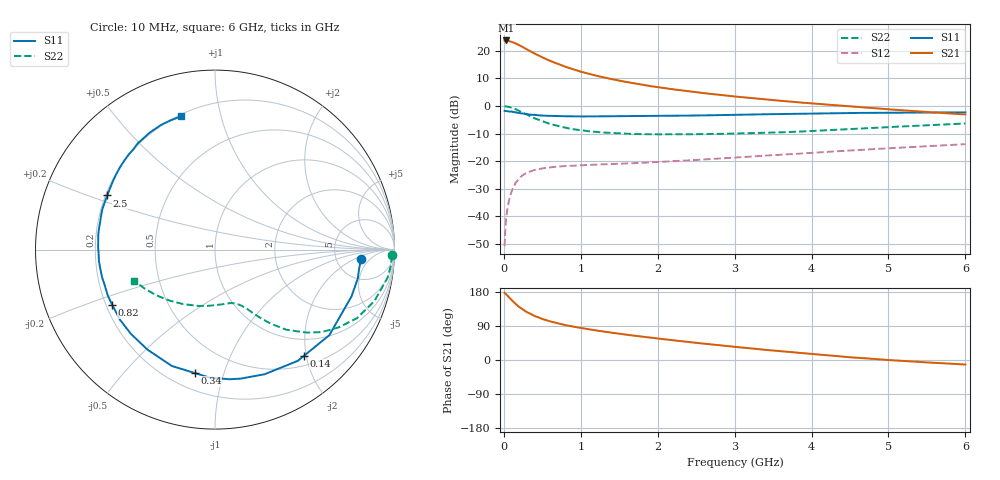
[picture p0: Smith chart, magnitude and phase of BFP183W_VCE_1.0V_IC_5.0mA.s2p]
! Infineon Technologies  Discrete & RF Semiconductors
! BFP183W
! VCE = 1.0 V,  IC =  5.0 mA
! Common Emitter S-Parameters:  Jan 2016
# GHz  S  MA  R  50
!  f  S11  S21  S12  S22
! GHz  MAG  ANG  MAG  ANG  MAG  ANG  MAG  ANG
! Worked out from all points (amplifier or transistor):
!   210 points, 10 MHz to 6 GHz, reference 50 ohm
!   highest |S21| = 23.7 dB at 30 MHz (marker M1)
!   |S21| within 3 dB of that: start of sweep to 284 MHz
!   unconditionally stable (mu >= 1): 1.672 GHz to end of sweep
!   at 185 MHz: K = 0.15, MSG = 24.4 dB, |S12| = -26.7 dB
!   at 1.52 GHz: K = 0.94, MSG = 15.0 dB, |S12| = -20.9 dB
!   at 6 GHz: K = 1.05, MAG = 4.0 dB, |S12| = -13.8 dB
!   S11 on the Smith chart (normalised r, x): 10 MHz: 8.89, -2.86; 140 MHz: 0.67, -1.96; 340 MHz: 0.30, -0.80; 820 MHz: 0.22, -0.24; 2.5 GHz: 0.21, +0.23; 6 GHz: 0.21, +0.76
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0.01  0.8152 -3.8  15.24 177.1  0.0029 92.1  0.9889 -1.9
0.03  0.8117 -11.4  15.34 173.5  0.0094 84.7  0.9828 -5.6
0.05  0.8043 -18.8  15.17 168.9  0.0149 80.6  0.9739 -9.3
0.1  0.7958 -36.8  14.53 158.3  0.0282 71.2  0.9333 -17.9
0.14  0.7719 -50.0  13.79 150.5  0.0376 64.1  0.8881 -24.1
0.15  0.7725 -53.4  13.65 148.4  0.04 62.9  0.8785 -25.8
0.2  0.7473 -68.4  12.59 139.8  0.0491 56.4  0.8148 -32.1
0.24  0.7329 -78.7  11.76 134.2  0.0551 51.6  0.7648 -36.4
0.3  0.7137 -92.4  10.54 126.2  0.062 45.9  0.6941 -41.8
0.34  0.6965 -99.4  9.84 122.6  0.0649 42.9  0.6548 -44.2
0.4  0.6915 -110.4  8.875 116.1  0.0696 39.0  0.5983 -48.3
0.5  0.6724 -124.1  7.571 108.2  0.0743 34.6  0.5273 -52.4
0.6  0.6633 -134.9  6.554 101.9  0.0773 31.2  0.4729 -55.5
0.82  0.6501 -151.7  5.018 91.4  0.082 27.8  0.3989 -60.0
1.02  0.6456 -162.7  4.11 83.9  0.0845 26.3  0.3605 -63.1
1.4  0.6484 -177.7  3.065 72.0  0.0888 26.1  0.325 -68.6
2.02  0.6609 164.3  2.169 56.2  0.097 28.7  0.307 -78.6
2.5  0.6721 153.3  1.773 45.4  0.1054 30.8  0.3085 -87.6
3.1  0.6952 141.2  1.441 32.9  0.1187 32.6  0.3184 -100.0
4.1  0.7337 124.7  1.086 14.3  0.1447 33.0  0.3567 -122.9
5.1  0.7574 112.4  0.85 -1.2  0.1744 30.7  0.4208 -144.1
6  0.7664 104.2  0.703 -12.0  0.2037 27.6  0.4817 -159.0
